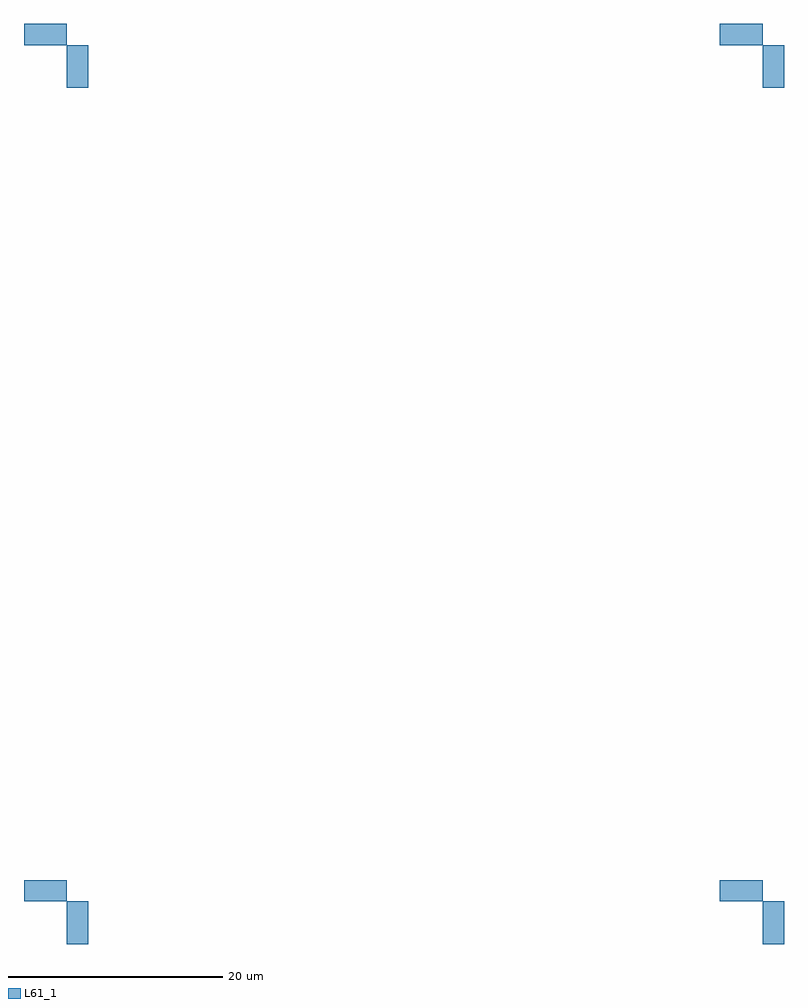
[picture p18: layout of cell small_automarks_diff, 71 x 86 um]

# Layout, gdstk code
import gdstk
lib = gdstk.Library(unit=1e-6, precision=1e-09)
L61_1 = (61, 1)

small_automarks_diff = lib.new_cell('small_automarks_diff')
small_automarks_diff.add(gdstk.FlexPath([(-22,-42),(-22,-38)], 2, ends="flush", simple_path=True, layer=61, datatype=1))  # L61_1
small_automarks_diff.add(gdstk.FlexPath([(-27,-37),(-23,-37)], 2, ends="flush", simple_path=True, layer=61, datatype=1))  # L61_1
small_automarks_diff.add(gdstk.FlexPath([(43,-42),(43,-38)], 2, ends="flush", simple_path=True, layer=61, datatype=1))  # L61_1
small_automarks_diff.add(gdstk.FlexPath([(38,-37),(42,-37)], 2, ends="flush", simple_path=True, layer=61, datatype=1))  # L61_1
small_automarks_diff.add(gdstk.FlexPath([(43,38),(43,42)], 2, ends="flush", simple_path=True, layer=61, datatype=1))  # L61_1
small_automarks_diff.add(gdstk.FlexPath([(38,43),(42,43)], 2, ends="flush", simple_path=True, layer=61, datatype=1))  # L61_1
small_automarks_diff.add(gdstk.FlexPath([(-22,38),(-22,42)], 2, ends="flush", simple_path=True, layer=61, datatype=1))  # L61_1
small_automarks_diff.add(gdstk.FlexPath([(-27,43),(-23,43)], 2, ends="flush", simple_path=True, layer=61, datatype=1))  # L61_1

lib.write_gds('small_automarks_diff.gds')
